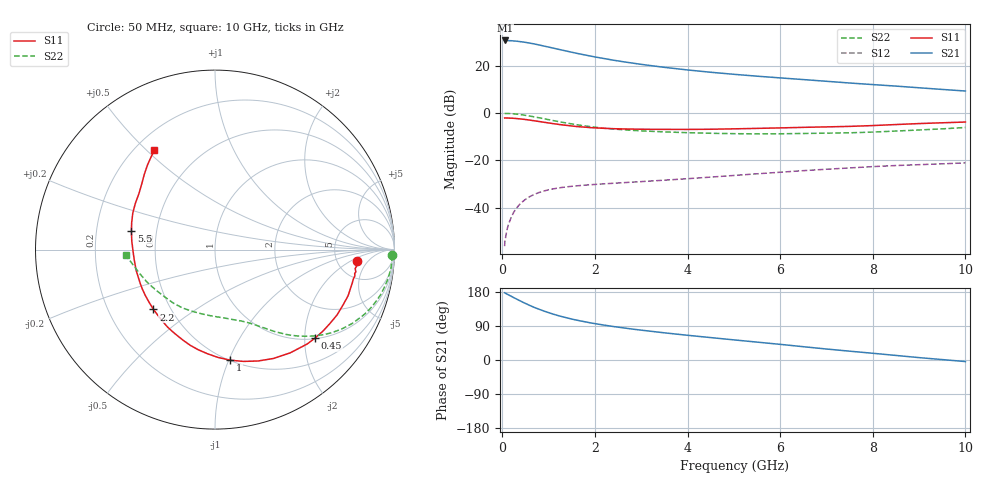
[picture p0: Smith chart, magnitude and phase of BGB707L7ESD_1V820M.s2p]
!  Infineon Technologies AG
!  BGB707L7ESD
!  Vce = 1.8V, Ic = 20.0mA
!  DATUM: 30.06.2009 10:16:00
# GHz  S  MA  R  50
!f  S11  S21  S12  S22
!GHz  Mag  Ang  Mag  Ang  Mag  Ang  Mag  Ang
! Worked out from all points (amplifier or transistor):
!   52 points, 50 MHz to 10 GHz, reference 50 ohm
!   highest |S21| = 30.8 dB at 60 MHz (marker M1)
!   |S21| within 3 dB of that: start of sweep to 1.046 GHz
!   unconditionally stable (mu >= 1): 4.072 GHz to 9.341 GHz
!   at 130 MHz: K = 0.07, MSG = 39.0 dB, |S12| = -47.2 dB
!   at 1.4 GHz: K = 0.44, MSG = 28.7 dB, |S12| = -31.2 dB
!   at 10 GHz: K = 0.95, MSG = 15.2 dB, |S12| = -21.0 dB
!   S11 on the Smith chart (normalised r, x): 50 MHz: 7.66, -2.64; 450 MHz: 1.02, -2.25; 1 GHz: 0.50, -1.01; 2.2 GHz: 0.40, -0.35; 5.5 GHz: 0.36, +0.09; 10 GHz: 0.28, +0.53
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0.05  0.7914 -4.7  33.94 177.4  0.001537 88.6  0.9859 -1.9
0.06  0.7969 -6.2  34.56 176.7  0.002129 86.0  0.9867 -2.5
0.08  0.788 -7.7  34.07 175.2  0.002662 85.5  0.9875 -3.7
0.09  0.7945 -9.0  34.38 175.1  0.003015 86.4  0.9875 -4.2
0.2  0.7849 -19.1  34.09 167.8  0.006531 81.0  0.976 -10.1
0.35  0.7616 -32.6  32.99 158.2  0.01106 73.7  0.9442 -17.5
0.45  0.7444 -41.4  32.09 152.1  0.01375 69.6  0.9169 -22.1
0.6  0.7118 -53.9  30.28 143.6  0.01732 64.0  0.8672 -28.4
0.7  0.6887 -61.7  29.04 138.3  0.01932 60.7  0.8323 -32.2
1  0.622 -82.2  25.04 125.0  0.02393 53.0  0.7291 -41.3
1.2  0.5819 -94.1  22.6 117.4  0.02606 49.4  0.6682 -46.1
1.4  0.5506 -104.5  20.47 111.1  0.02769 46.9  0.6162 -50.1
1.6  0.5228 -113.9  18.53 105.3  0.02898 45.1  0.5722 -53.4
1.8  0.5051 -121.9  16.93 100.5  0.03009 44.0  0.5357 -56.2
2.2  0.4779 -135.8  14.31 92.0  0.03203 43.0  0.4819 -61.2
2.8  0.4606 -151.5  11.51 81.7  0.03476 43.4  0.4336 -67.9
3.5  0.4542 -165.0  9.326 71.7  0.03824 45.1  0.402 -75.7
4.5  0.4573 -179.5  7.342 59.1  0.04444 47.6  0.3758 -87.6
5.5  0.4767 167.7  6.066 47.2  0.05217 48.8  0.3654 -102.4
7  0.513 149.9  4.73 29.0  0.06517 47.0  0.3778 -128.0
8.5  0.5752 133.2  3.741 12.0  0.0781 42.4  0.419 -154.0
10  0.6493 121.3  2.945 -4.1  0.08891 37.7  0.4985 -176.4
